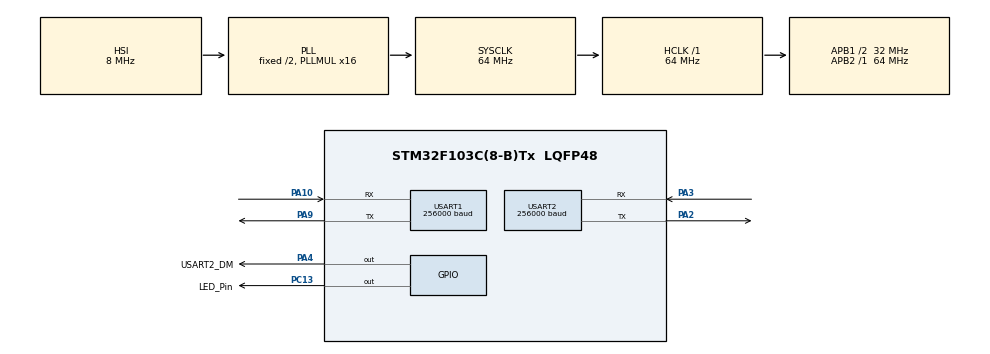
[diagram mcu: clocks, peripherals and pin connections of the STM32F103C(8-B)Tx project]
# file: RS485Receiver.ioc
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Dma.Request0=USART1_RX
Dma.Request1=USART2_RX
Dma.USART1_RX.0.Direction=DMA_PERIPH_TO_MEMORY
Dma.USART1_RX.0.Instance=DMA1_Channel5
Dma.USART1_RX.0.MemDataAlignment=DMA_MDATAALIGN_BYTE
Dma.USART1_RX.0.MemInc=DMA_MINC_ENABLE
Dma.USART1_RX.0.Mode=DMA_CIRCULAR
Dma.USART1_RX.0.PeriphDataAlignment=DMA_PDATAALIGN_BYTE
Dma.USART1_RX.0.PeriphInc=DMA_PINC_DISABLE
Dma.USART1_RX.0.Priority=DMA_PRIORITY_LOW
Dma.USART2_RX.1.Direction=DMA_PERIPH_TO_MEMORY
Dma.USART2_RX.1.Instance=DMA1_Channel6
Dma.USART2_RX.1.MemDataAlignment=DMA_MDATAALIGN_BYTE
Dma.USART2_RX.1.MemInc=DMA_MINC_ENABLE
Dma.USART2_RX.1.Mode=DMA_CIRCULAR
Dma.USART2_RX.1.PeriphDataAlignment=DMA_PDATAALIGN_BYTE
Dma.USART2_RX.1.PeriphInc=DMA_PINC_DISABLE
Dma.USART2_RX.1.Priority=DMA_PRIORITY_LOW
Mcu.Family=STM32F1
Mcu.Name=STM32F103C(8-B)Tx
Mcu.Package=LQFP48
NVIC.DMA1_Channel5_IRQn=true\:0\:0\:false\:false\:true\:false\:true
NVIC.DMA1_Channel6_IRQn=true\:0\:0\:false\:false\:true\:false\:true
NVIC.PriorityGroup=NVIC_PRIORITYGROUP_4
PA10.Mode=Asynchronous
PA10.Signal=USART1_RX
PA13.Mode=Serial_Wire
PA13.Signal=SYS_JTMS-SWDIO
PA14.Mode=Serial_Wire
PA14.Signal=SYS_JTCK-SWCLK
PA2.Mode=Asynchronous
PA2.Signal=USART2_TX
PA3.Mode=Asynchronous
PA3.Signal=USART2_RX
PA4.GPIO_Label=USART2_DM
PA4.GPIO_ModeDefaultOutputPP=GPIO_MODE_OUTPUT_OD
PA4.GPIO_PuPd=GPIO_PULLUP
PA4.PinState=GPIO_PIN_RESET
PA4.Signal=GPIO_Output
PA9.Mode=Asynchronous
PA9.Signal=USART1_TX
PC13-TAMPER-RTC.GPIO_Label=LED_Pin
PC13-TAMPER-RTC.Signal=GPIO_Output
ProjectManager.HeapSize=0x200
ProjectManager.StackSize=0x400
ProjectManager.TargetToolchain=Makefile
RCC.AHBFreq_Value=64000000
RCC.APB1CLKDivider=RCC_HCLK_DIV2
RCC.APB1Freq_Value=32000000
RCC.APB1TimFreq_Value=64000000
RCC.APB2Freq_Value=64000000
RCC.APB2TimFreq_Value=64000000
RCC.HCLKFreq_Value=64000000
RCC.PLLMUL=RCC_PLL_MUL16
RCC.SYSCLKFreq_VALUE=64000000
RCC.SYSCLKSource=RCC_SYSCLKSOURCE_PLLCLK
RCC.USBFreq_Value=64000000
USART1.BaudRate=256000
USART1.Mode=MODE_TX_RX
USART1.VirtualMode=VM_ASYNC
USART2.BaudRate=256000
USART2.VirtualMode=VM_ASYNC
board=custom

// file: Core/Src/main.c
/* USER CODE BEGIN Header */
/**
  ******************************************************************************
  * @file           : main.c
  * @brief          : Main program body
  ******************************************************************************
  * @attention
  *
  * <h2><center>&copy; Copyright (c) 2021 STMicroelectronics.
  * All rights reserved.</center></h2>
  *
  * This software component is licensed by ST under BSD 3-Clause license,
  * the "License"; You may not use this file except in compliance with the
  * License. You may obtain a copy of the License at:
  *                        opensource.org/licenses/BSD-3-Clause
  *
  ******************************************************************************
  */
/* USER CODE END Header */
#include "main.h"

/* USER CODE BEGIN Includes */
#include <stdio.h>
#include <string.h>
/* USER CODE END Includes */

UART_HandleTypeDef huart1;
UART_HandleTypeDef huart2;
DMA_HandleTypeDef hdma_usart1_rx;
DMA_HandleTypeDef hdma_usart2_rx;

void SystemClock_Config(void);
static void MX_GPIO_Init(void);
static void MX_DMA_Init(void);
static void MX_USART1_UART_Init(void);
static void MX_USART2_UART_Init(void);

/* USER CODE BEGIN 0 */
/*
//#define SetPinParams(RS,E,D7,D6,D5,D4) (RS<<7 | E<<6 | D7<<3 | D6<<2 | D5<<1 | D4<<0)
void ToggleE()
{
  HAL_GPIO_WritePin(LCD_E_GPIO_Port, LCD_E_Pin, SET);
  HAL_Delay(1);
  HAL_GPIO_WritePin(LCD_E_GPIO_Port, LCD_E_Pin, RESET);
  HAL_Delay(1);
}
void SetRS(uint8_t RS)
{
  HAL_GPIO_WritePin(LCD_RS_GPIO_Port, LCD_RS_Pin, RS);
}
void SetData4(uint8_t Data)
{
  HAL_GPIO_WritePin(LCD_D7_GPIO_Port, LCD_D7_Pin, Data&0x80);
  HAL_GPIO_WritePin(LCD_D6_GPIO_Port, LCD_D6_Pin, Data&0x40);
  HAL_GPIO_WritePin(LCD_D5_GPIO_Port, LCD_D5_Pin, Data&0x20);
  HAL_GPIO_WritePin(LCD_D4_GPIO_Port, LCD_D4_Pin, Data&0x10);
  ToggleE();
}
void Inst4Bit(uint8_t inst)
{
  SetRS(RS_Inst);
  SetData4(inst);
}
void Inst8Bit(uint8_t inst)
{
  SetRS(RS_Inst);
  SetData4(inst);
  SetData4(inst<<4);
}
void Data8Bit(uint8_t data)
{
  SetRS(RS_Data);
  SetData4(data);
  SetData4(data<<4);
}
void init_LCD()
{
  HAL_Delay(15);//Wait 15ms

  Inst4Bit(LCD_FUNCTION_SET(1,0,0));
  HAL_Delay(5);//Wait 4.1ms

  Inst4Bit(LCD_FUNCTION_SET(1,0,0));
  HAL_Delay(1);//Wait 100us

  Inst4Bit(LCD_FUNCTION_SET(0,0,0));//4-bit length
  HAL_Delay(10);//Wait 10ms
  Inst8Bit(LCD_FUNCTION_SET(0,1,0));//4-bit length
  HAL_Delay(10);//Wait 10ms
  Inst8Bit(LCD_FUNCTION_SET(0,1,0));//4-bit length
  HAL_Delay(10);//Wait 10ms
  Inst8Bit(LCD_SCREEN_CLEAR());//disp clear
  HAL_Delay(10);//Wait 10ms
  Inst8Bit(LCD_DISPLAY_SWITCH(1,0,0));//disp ON ,cursor OFF
  HAL_Delay(10);//Wait 10ms
  Inst8Bit(LCD_INPUT_SET(1,0));//cursor increment
  HAL_Delay(10);//Wait 10ms

  Inst8Bit(LCD_SCREEN_CLEAR());//disp clear
  HAL_Delay(10);//Wait 10ms
}
void Write_character(int pos_x,int pos_y,char* ch)
{
  Inst8Bit(0x80 | (pos_y==1)<<6 | pos_x);

  while(*ch != 0)
    Data8Bit(*(ch++));
}
*/

void UARTReceiver_callback();
void UARTReceiver_Process(char* msg);

typedef enum _BOOL { FALSE = 0, TRUE } BOOL;

uint8_t UARTBufferfromRS485[128] = {0,};
uint32_t old_pos_fromRS485 = 0;

uint8_t UARTBufferfromUART[128] = {0,};
uint32_t old_pos_fromUART = 0;

void UARTReceiver_init()
{
  HAL_UART_Receive_DMA(&huart1,UARTBufferfromUART,sizeof(UARTBufferfromUART));
  HAL_UART_Receive_DMA(&huart2,UARTBufferfromRS485,sizeof(UARTBufferfromRS485));
  HAL_GPIO_WritePin(USART2_DM_GPIO_Port,USART2_DM_Pin,RESET);//Listening
}
void ProcessUARTData(UART_HandleTypeDef* huart,uint32_t *old_pos,uint8_t *DMABuffer,uint32_t DMABufferSize,void (*callback)(uint8_t*,size_t));
void SendDatatoUART(uint8_t* buf,size_t len);
void SendDatatoRS485(uint8_t* buf,size_t len);

BOOL UART_Ended = TRUE;
void UARTReceiver_callback()
{
  /*
    if(readch == 0x03){
        UART_Ended = TRUE;
        UARTBuffer[UARTBufferfocus] = 0;
        UARTBufferfocus=0;
        UARTReceiver_Process(UARTBuffer);
        HAL_GPIO_TogglePin(LED_Pin_GPIO_Port,LED_Pin_Pin);
    }

    if(!UART_Ended)
    {
        UARTBuffer[UARTBufferfocus++] = readch;
        if(UARTBufferfocus >= sizeof(UARTBuffer))
        {
            readch = 0x03;
            UARTReceiver_callback();
        }
    }

    if(readch == 0x02){
        UART_Ended = FALSE;
        UARTBuffer[0] = 0;
        UARTBufferfocus = 0;
    }
    HAL_UART_Receive_IT(&huart2,&readch,1);
    */
}
char buf[16];
void UARTReceiver_Process(char* msg)
{
  printf("msg %s \n",msg);
}
int _write(int file, char* p, int len)
{
  HAL_UART_Transmit(&huart1,(uint8_t*)p,len,1000);
  return len;
}
/* USER CODE END 0 */

int main(void)
{

  /* MCU Configuration--------------------------------------------------------*/

  /* Reset of all peripherals, Initializes the Flash interface and the Systick. */
  HAL_Init();

  /* Configure the system clock */
  SystemClock_Config();

  /* Initialize all configured peripherals */
  MX_GPIO_Init();
  MX_DMA_Init();
  MX_USART1_UART_Init();
  MX_USART2_UART_Init();
  /* USER CODE BEGIN 2 */
  printf("Start!!\n");
  //init_LCD();

  //Write_character(0,0,"Waiting for Data");
  /* USER CODE END 2 */

  /* Infinite loop */
  /* USER CODE BEGIN WHILE */
  UARTReceiver_init();
  //HAL_GPIO_WritePin(USART2_DM_GPIO_Port,USART2_DM_Pin,SET);//Listening
  while (1)
  {
    //Data8Bit('H');
    //HAL_Delay(500);
    /* USER CODE END WHILE */

    /* USER CODE BEGIN 3 */
    ProcessUARTData(&huart2,&old_pos_fromRS485,UARTBufferfromRS485,sizeof(UARTBufferfromRS485),SendDatatoUART);
    ProcessUARTData(&huart1,&old_pos_fromUART,UARTBufferfromUART,sizeof(UARTBufferfromUART),SendDatatoRS485);
  }
  /* USER CODE END 3 */
}

void SystemClock_Config(void)
{
  RCC_OscInitTypeDef RCC_OscInitStruct = {0};
  RCC_ClkInitTypeDef RCC_ClkInitStruct = {0};

  /** Initializes the RCC Oscillators according to the specified parameters
  * in the RCC_OscInitTypeDef structure.
  */
  RCC_OscInitStruct.OscillatorType = RCC_OSCILLATORTYPE_HSI;
  RCC_OscInitStruct.HSIState = RCC_HSI_ON;
  RCC_OscInitStruct.HSICalibrationValue = RCC_HSICALIBRATION_DEFAULT;
  RCC_OscInitStruct.PLL.PLLState = RCC_PLL_ON;
  RCC_OscInitStruct.PLL.PLLSource = RCC_PLLSOURCE_HSI_DIV2;
  RCC_OscInitStruct.PLL.PLLMUL = RCC_PLL_MUL16;
  if (HAL_RCC_OscConfig(&RCC_OscInitStruct) != HAL_OK)
  {
    Error_Handler();
  }
  /** Initializes the CPU, AHB and APB buses clocks
  */
  RCC_ClkInitStruct.ClockType = RCC_CLOCKTYPE_HCLK|RCC_CLOCKTYPE_SYSCLK
                              |RCC_CLOCKTYPE_PCLK1|RCC_CLOCKTYPE_PCLK2;
  RCC_ClkInitStruct.SYSCLKSource = RCC_SYSCLKSOURCE_PLLCLK;
  RCC_ClkInitStruct.AHBCLKDivider = RCC_SYSCLK_DIV1;
  RCC_ClkInitStruct.APB1CLKDivider = RCC_HCLK_DIV2;
  RCC_ClkInitStruct.APB2CLKDivider = RCC_HCLK_DIV1;

  if (HAL_RCC_ClockConfig(&RCC_ClkInitStruct, FLASH_LATENCY_2) != HAL_OK)
  {
    Error_Handler();
  }
}

static void MX_USART1_UART_Init(void)
{

  huart1.Instance = USART1;
  huart1.Init.BaudRate = 256000;
  huart1.Init.WordLength = UART_WORDLENGTH_8B;
  huart1.Init.StopBits = UART_STOPBITS_1;
  huart1.Init.Parity = UART_PARITY_NONE;
  huart1.Init.Mode = UART_MODE_TX_RX;
  huart1.Init.HwFlowCtl = UART_HWCONTROL_NONE;
  huart1.Init.OverSampling = UART_OVERSAMPLING_16;
  if (HAL_UART_Init(&huart1) != HAL_OK)
  {
    Error_Handler();
  }

}

static void MX_USART2_UART_Init(void)
{

  huart2.Instance = USART2;
  huart2.Init.BaudRate = 256000;
  huart2.Init.WordLength = UART_WORDLENGTH_8B;
  huart2.Init.StopBits = UART_STOPBITS_1;
  huart2.Init.Parity = UART_PARITY_NONE;
  huart2.Init.Mode = UART_MODE_TX_RX;
  huart2.Init.HwFlowCtl = UART_HWCONTROL_NONE;
  huart2.Init.OverSampling = UART_OVERSAMPLING_16;
  if (HAL_UART_Init(&huart2) != HAL_OK)
  {
    Error_Handler();
  }

}

static void MX_DMA_Init(void)
{

  /* DMA controller clock enable */
  __HAL_RCC_DMA1_CLK_ENABLE();

  /* DMA interrupt init */
  /* DMA1_Channel5_IRQn interrupt configuration */
  HAL_NVIC_SetPriority(DMA1_Channel5_IRQn, 0, 0);
  HAL_NVIC_EnableIRQ(DMA1_Channel5_IRQn);
  /* DMA1_Channel6_IRQn interrupt configuration */
  HAL_NVIC_SetPriority(DMA1_Channel6_IRQn, 0, 0);
  HAL_NVIC_EnableIRQ(DMA1_Channel6_IRQn);

}

static void MX_GPIO_Init(void)
{
  GPIO_InitTypeDef GPIO_InitStruct = {0};

  /* GPIO Ports Clock Enable */
  __HAL_RCC_GPIOC_CLK_ENABLE();
  __HAL_RCC_GPIOA_CLK_ENABLE();

  /*Configure GPIO pin Output Level */
  HAL_GPIO_WritePin(LED_Pin_GPIO_Port, LED_Pin_Pin, GPIO_PIN_RESET);

  /*Configure GPIO pin Output Level */
  HAL_GPIO_WritePin(USART2_DM_GPIO_Port, USART2_DM_Pin, GPIO_PIN_RESET);

  /*Configure GPIO pin : LED_Pin_Pin */
  GPIO_InitStruct.Pin = LED_Pin_Pin;
  GPIO_InitStruct.Mode = GPIO_MODE_OUTPUT_PP;
  GPIO_InitStruct.Pull = GPIO_NOPULL;
  GPIO_InitStruct.Speed = GPIO_SPEED_FREQ_LOW;
  HAL_GPIO_Init(LED_Pin_GPIO_Port, &GPIO_InitStruct);

  /*Configure GPIO pin : USART2_DM_Pin */
  GPIO_InitStruct.Pin = USART2_DM_Pin;
  GPIO_InitStruct.Mode = GPIO_MODE_OUTPUT_OD;
  GPIO_InitStruct.Pull = GPIO_PULLUP;
  GPIO_InitStruct.Speed = GPIO_SPEED_FREQ_LOW;
  HAL_GPIO_Init(USART2_DM_GPIO_Port, &GPIO_InitStruct);

}

/* USER CODE BEGIN 4 */

void ProcessUARTData(UART_HandleTypeDef* huart,uint32_t *old_pos,uint8_t *DMABuffer,uint32_t DMABufferSize,void (*callback)(uint8_t*,size_t))
{
  uint32_t data_dma_pos = huart->RxXferSize - huart->hdmarx->Instance->CNDTR;
  uint32_t *dma_pos = &data_dma_pos;
  //DMA's data position

  //printf("data_dma_pos : %d = %d-%d\n",*dma_pos,huart->RxXferSize, huart->hdmarx->Instance->CNDTR);
  //printf("data_old_pos : %d\n",*old_pos);

  uint8_t sendDataBuffer[sizeof(UARTBufferfromRS485)-1];
  size_t rx_size = 0;

  // 이전 위치와 현재 위치가 다르다면 (= 데이터 처리 필요)
  if(*dma_pos != *old_pos)
  {
    //현재 위치 > 이전 위치 : 이전 위치에서 현재 위치까지 데이터를 가져옴.
    if(*dma_pos > *old_pos)
    {
      //이 차이만큼이 수신 바이트 크기가 된다.
      rx_size = *dma_pos - *old_pos;

      //데이터를 가져온다.
      memcpy(sendDataBuffer,DMABuffer + *old_pos,rx_size);
    }
    //현재 위치 < 이전 위치 : Circular Buffer에서 Overfolw되어 한 바퀴 넘어갔다.
    //첫번쩨로 현재부터 버퍼의 끝까지, 두번째로 처음부터 현재 위치까지 가져온다.
    else
    {
      // 현재 위치에 버퍼 길이를 더해준 위치와 이전위치의 차이가 수신 바이트 크기가 된다.
      rx_size = *dma_pos + sizeof(UARTBufferfromRS485) - *old_pos;

      //첫번째 전송을 위한 내용 : 버퍼끝까지 남은 바이트수
      uint32_t remain_size = sizeof(UARTBufferfromRS485) - *old_pos;

      //printf("buffer(d%d,o%d,%d,%d)\n",*dma_pos,*old_pos,rx_size,remain_size);

      // 첫번째 복사를 완료한다.
      //printf("0<-%d : l=%d\n",*old_pos,remain_size);
      memcpy(sendDataBuffer,DMABuffer + *old_pos,remain_size);

      // 두번째 복사를 완료한다.
      //printf("%d<-0 : l=%d\n",remain_size,*dma_pos);
      memcpy(sendDataBuffer + remain_size,DMABuffer,*dma_pos);
    }

    sendDataBuffer[rx_size] = 0;//null termination
    *old_pos = *dma_pos;

    if(callback != NULL)
      callback(sendDataBuffer,rx_size);
  }
}
void SendDatatoUART(uint8_t* buf,size_t len)
{
  //printf("485->UART(%d) : %s\n",len, buf);
  HAL_UART_Transmit(&huart1,buf,len,1000);
}
void SendDatatoRS485(uint8_t* buf,size_t len)
{
  //printf("UART->485(%d) : %s\n",len, buf);
  HAL_GPIO_WritePin(USART2_DM_GPIO_Port,USART2_DM_Pin,SET);
  HAL_UART_Transmit(&huart2,buf,len,1000);
  HAL_GPIO_WritePin(USART2_DM_GPIO_Port,USART2_DM_Pin,RESET);
}
/* USER CODE END 4 */

void Error_Handler(void)
{
  __disable_irq();
  while (1)
  {
  }
}

/************************ (C) COPYRIGHT STMicroelectronics *****END OF FILE****/
